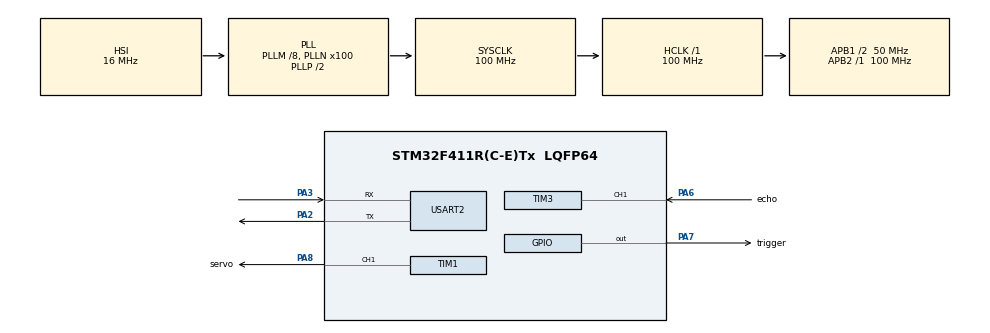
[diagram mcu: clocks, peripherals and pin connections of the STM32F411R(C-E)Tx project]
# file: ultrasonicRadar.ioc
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Mcu.Family=STM32F4
Mcu.Name=STM32F411R(C-E)Tx
Mcu.Package=LQFP64
NVIC.PriorityGroup=NVIC_PRIORITYGROUP_4
NVIC.TIM3_IRQn=true\:0\:0\:false\:false\:true\:true\:true\:true
NVIC.USART2_IRQn=true\:0\:0\:false\:false\:true\:true\:true\:true
PA2.Mode=Asynchronous
PA2.Signal=USART2_TX
PA3.Mode=Asynchronous
PA3.Signal=USART2_RX
PA6.GPIO_Label=echo
PA6.Signal=S_TIM3_CH1
PA7.GPIO_Label=trigger
PA7.Signal=GPIO_Output
PA8.GPIO_Label=servo
PA8.Signal=S_TIM1_CH1
ProjectManager.HeapSize=0x200
ProjectManager.StackSize=0x400
ProjectManager.TargetToolchain=STM32CubeIDE
RCC.48MHZClocksFreq_Value=50000000
RCC.AHBFreq_Value=100000000
RCC.APB1CLKDivider=RCC_HCLK_DIV2
RCC.APB1Freq_Value=50000000
RCC.APB1TimFreq_Value=100000000
RCC.APB2Freq_Value=100000000
RCC.APB2TimFreq_Value=100000000
RCC.CortexFreq_Value=100000000
RCC.HCLKFreq_Value=100000000
RCC.HSE_VALUE=25000000
RCC.HSI_VALUE=16000000
RCC.LSE_VALUE=32768
RCC.PLLM=8
RCC.PLLN=100
RCC.SYSCLKFreq_VALUE=100000000
RCC.SYSCLKSource=RCC_SYSCLKSOURCE_PLLCLK
RCC.VCOOutputFreq_Value=200000000
SH.S_TIM1_CH1.0=TIM1_CH1,PWM Generation1 CH1
SH.S_TIM3_CH1.0=TIM3_CH1,Input_Capture1_from_TI1
TIM1.Channel-PWM\ Generation1\ CH1=TIM_CHANNEL_1
TIM1.Period=20000-1
TIM1.Prescaler=100-1
TIM1.Pulse-PWM\ Generation1\ CH1=1500-1
TIM3.Channel-Input_Capture1_from_TI1=TIM_CHANNEL_1
TIM3.Prescaler=100-1
USART2.VirtualMode=VM_ASYNC
VP_TIM11_VS_ClockSourceINT.Mode=Enable_Timer
VP_TIM1_VS_ClockSourceINT.Mode=Internal
VP_TIM3_VS_ClockSourceINT.Mode=Internal
board=custom

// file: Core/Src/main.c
/* USER CODE BEGIN Header */
/**
  ******************************************************************************
  * @file           : main.c
  * @brief          : Main program body
  ******************************************************************************
  * @attention
  *
  * Copyright (c) 2024 STMicroelectronics.
  * All rights reserved.
  *
  * This software is licensed under terms that can be found in the LICENSE file
  * in the root directory of this software component.
  * If no LICENSE file comes with this software, it is provided AS-IS.
  *
  ******************************************************************************
  */
/* USER CODE END Header */
#include "main.h"

/* USER CODE BEGIN Includes */
#include "uart.h"
/* USER CODE END Includes */

TIM_HandleTypeDef htim1;
TIM_HandleTypeDef htim3;
TIM_HandleTypeDef htim11;

UART_HandleTypeDef huart2;

void SystemClock_Config(void);
static void MX_GPIO_Init(void);
static void MX_TIM1_Init(void);
static void MX_TIM3_Init(void);
static void MX_TIM11_Init(void);
static void MX_USART2_UART_Init(void);

/* USER CODE BEGIN 0 */
long map(long x, long in_min, long in_max, long out_min, long out_max) {
  return (x - in_min) * (out_max - out_min) / (in_max - in_min) + out_min;
}

uint32_t 	IC_Val1 = 0;
uint32_t 	IC_Val2 = 0;
uint32_t 	Difference = 0;
uint8_t 	IsFirstCaptured = 0;
uint8_t 	Distance = 0;

void delay_us(uint16_t time) {
	htim3.Instance->CNT = 0;
	while(htim3.Instance->CNT < time);
}

void HAL_TIM_IC_CaptureCallback(TIM_HandleTypeDef *htim) {
	if(htim->Channel == HAL_TIM_ACTIVE_CHANNEL_1) {
		if(IsFirstCaptured == 0) {
			IC_Val1 = HAL_TIM_ReadCapturedValue(htim, TIM_CHANNEL_1);
			IsFirstCaptured = 1;
			__HAL_TIM_SET_CAPTUREPOLARITY(htim, TIM_CHANNEL_1, TIM_INPUTCHANNELPOLARITY_FALLING);
		}
		else if(IsFirstCaptured == 1) {
			IC_Val2 = HAL_TIM_ReadCapturedValue(htim, TIM_CHANNEL_1);
			htim->Instance->CNT = 0;
			if(IC_Val2 > IC_Val1) {
				Difference = IC_Val2 - IC_Val1;
			}
			else if(IC_Val2 < IC_Val1) {
				Difference = (0xffff - IC_Val1) + IC_Val2;
			}
			Distance = Difference * 0.034 / 2;
			IsFirstCaptured = 0;

			__HAL_TIM_SET_CAPTUREPOLARITY(htim, TIM_CHANNEL_1, TIM_INPUTCHANNELPOLARITY_RISING);
			__HAL_TIM_DISABLE_IT(htim, TIM_IT_CC1);
		}
	}
}

uint32_t getDistance() {
	HAL_GPIO_WritePin(trigger_GPIO_Port, trigger_Pin, 1);
	delay_us(10);
	HAL_GPIO_WritePin(trigger_GPIO_Port, trigger_Pin, 0);

	__HAL_TIM_ENABLE_IT(&htim3, TIM_IT_CC1);
	delay_us(100);
	return Distance;
}

/* USER CODE END 0 */

int main(void)
{

  /* MCU Configuration--------------------------------------------------------*/

  /* Reset of all peripherals, Initializes the Flash interface and the Systick. */
  HAL_Init();

  /* Configure the system clock */
  SystemClock_Config();

  /* Initialize all configured peripherals */
  MX_GPIO_Init();
  MX_TIM1_Init();
  MX_TIM3_Init();
  MX_TIM11_Init();
  MX_USART2_UART_Init();
  /* USER CODE BEGIN 2 */
  initUart(&huart2);
  HAL_TIM_PWM_Start(&htim1, TIM_CHANNEL_1);
  HAL_TIM_IC_Start_IT(&htim3, TIM_CHANNEL_1);
  HAL_TIM_Base_Start(&htim11);
  /* USER CODE END 2 */

  /* Infinite loop */
  /* USER CODE BEGIN WHILE */
  while (1)
  {
     protocol_t txData, rxData;
     rxData = receivePacket();
     if(rxData.cmd=='R'){
    	 htim1.Instance->CCR1 = map(rxData.data, 0, 180, 500, 2300);
    	 txData.cmd='A';
    	 txData.data = getDistance();
    	 transmitPacket(txData);
     }

     if(rxData.cmd=='P'){
    	 txData.cmd = 'B';
    	 txData.data = 0x321;
    	 transmitPacket(txData);
     }

     HAL_Delay(1000);
    /* USER CODE END WHILE */

  }
}

void SystemClock_Config(void)
{
  RCC_OscInitTypeDef RCC_OscInitStruct = {0};
  RCC_ClkInitTypeDef RCC_ClkInitStruct = {0};

  /** Configure the main internal regulator output voltage
  */
  __HAL_RCC_PWR_CLK_ENABLE();
  __HAL_PWR_VOLTAGESCALING_CONFIG(PWR_REGULATOR_VOLTAGE_SCALE1);

  /** Initializes the RCC Oscillators according to the specified parameters
  * in the RCC_OscInitTypeDef structure.
  */
  RCC_OscInitStruct.OscillatorType = RCC_OSCILLATORTYPE_HSI;
  RCC_OscInitStruct.HSIState = RCC_HSI_ON;
  RCC_OscInitStruct.HSICalibrationValue = RCC_HSICALIBRATION_DEFAULT;
  RCC_OscInitStruct.PLL.PLLState = RCC_PLL_ON;
  RCC_OscInitStruct.PLL.PLLSource = RCC_PLLSOURCE_HSI;
  RCC_OscInitStruct.PLL.PLLM = 8;
  RCC_OscInitStruct.PLL.PLLN = 100;
  RCC_OscInitStruct.PLL.PLLP = RCC_PLLP_DIV2;
  RCC_OscInitStruct.PLL.PLLQ = 4;
  if (HAL_RCC_OscConfig(&RCC_OscInitStruct) != HAL_OK)
  {
    Error_Handler();
  }

  /** Initializes the CPU, AHB and APB buses clocks
  */
  RCC_ClkInitStruct.ClockType = RCC_CLOCKTYPE_HCLK|RCC_CLOCKTYPE_SYSCLK
                              |RCC_CLOCKTYPE_PCLK1|RCC_CLOCKTYPE_PCLK2;
  RCC_ClkInitStruct.SYSCLKSource = RCC_SYSCLKSOURCE_PLLCLK;
  RCC_ClkInitStruct.AHBCLKDivider = RCC_SYSCLK_DIV1;
  RCC_ClkInitStruct.APB1CLKDivider = RCC_HCLK_DIV2;
  RCC_ClkInitStruct.APB2CLKDivider = RCC_HCLK_DIV1;

  if (HAL_RCC_ClockConfig(&RCC_ClkInitStruct, FLASH_LATENCY_3) != HAL_OK)
  {
    Error_Handler();
  }
}

static void MX_TIM1_Init(void)
{

  TIM_ClockConfigTypeDef sClockSourceConfig = {0};
  TIM_MasterConfigTypeDef sMasterConfig = {0};
  TIM_OC_InitTypeDef sConfigOC = {0};
  TIM_BreakDeadTimeConfigTypeDef sBreakDeadTimeConfig = {0};

  htim1.Instance = TIM1;
  htim1.Init.Prescaler = 100-1;
  htim1.Init.CounterMode = TIM_COUNTERMODE_UP;
  htim1.Init.Period = 20000-1;
  htim1.Init.ClockDivision = TIM_CLOCKDIVISION_DIV1;
  htim1.Init.RepetitionCounter = 0;
  htim1.Init.AutoReloadPreload = TIM_AUTORELOAD_PRELOAD_DISABLE;
  if (HAL_TIM_Base_Init(&htim1) != HAL_OK)
  {
    Error_Handler();
  }
  sClockSourceConfig.ClockSource = TIM_CLOCKSOURCE_INTERNAL;
  if (HAL_TIM_ConfigClockSource(&htim1, &sClockSourceConfig) != HAL_OK)
  {
    Error_Handler();
  }
  if (HAL_TIM_PWM_Init(&htim1) != HAL_OK)
  {
    Error_Handler();
  }
  sMasterConfig.MasterOutputTrigger = TIM_TRGO_RESET;
  sMasterConfig.MasterSlaveMode = TIM_MASTERSLAVEMODE_DISABLE;
  if (HAL_TIMEx_MasterConfigSynchronization(&htim1, &sMasterConfig) != HAL_OK)
  {
    Error_Handler();
  }
  sConfigOC.OCMode = TIM_OCMODE_PWM1;
  sConfigOC.Pulse = 1500-1;
  sConfigOC.OCPolarity = TIM_OCPOLARITY_HIGH;
  sConfigOC.OCNPolarity = TIM_OCNPOLARITY_HIGH;
  sConfigOC.OCFastMode = TIM_OCFAST_DISABLE;
  sConfigOC.OCIdleState = TIM_OCIDLESTATE_RESET;
  sConfigOC.OCNIdleState = TIM_OCNIDLESTATE_RESET;
  if (HAL_TIM_PWM_ConfigChannel(&htim1, &sConfigOC, TIM_CHANNEL_1) != HAL_OK)
  {
    Error_Handler();
  }
  sBreakDeadTimeConfig.OffStateRunMode = TIM_OSSR_DISABLE;
  sBreakDeadTimeConfig.OffStateIDLEMode = TIM_OSSI_DISABLE;
  sBreakDeadTimeConfig.LockLevel = TIM_LOCKLEVEL_OFF;
  sBreakDeadTimeConfig.DeadTime = 0;
  sBreakDeadTimeConfig.BreakState = TIM_BREAK_DISABLE;
  sBreakDeadTimeConfig.BreakPolarity = TIM_BREAKPOLARITY_HIGH;
  sBreakDeadTimeConfig.AutomaticOutput = TIM_AUTOMATICOUTPUT_DISABLE;
  if (HAL_TIMEx_ConfigBreakDeadTime(&htim1, &sBreakDeadTimeConfig) != HAL_OK)
  {
    Error_Handler();
  }
  HAL_TIM_MspPostInit(&htim1);

}

static void MX_TIM3_Init(void)
{

  TIM_ClockConfigTypeDef sClockSourceConfig = {0};
  TIM_MasterConfigTypeDef sMasterConfig = {0};
  TIM_IC_InitTypeDef sConfigIC = {0};

  htim3.Instance = TIM3;
  htim3.Init.Prescaler = 100-1;
  htim3.Init.CounterMode = TIM_COUNTERMODE_UP;
  htim3.Init.Period = 65535;
  htim3.Init.ClockDivision = TIM_CLOCKDIVISION_DIV1;
  htim3.Init.AutoReloadPreload = TIM_AUTORELOAD_PRELOAD_DISABLE;
  if (HAL_TIM_Base_Init(&htim3) != HAL_OK)
  {
    Error_Handler();
  }
  sClockSourceConfig.ClockSource = TIM_CLOCKSOURCE_INTERNAL;
  if (HAL_TIM_ConfigClockSource(&htim3, &sClockSourceConfig) != HAL_OK)
  {
    Error_Handler();
  }
  if (HAL_TIM_IC_Init(&htim3) != HAL_OK)
  {
    Error_Handler();
  }
  sMasterConfig.MasterOutputTrigger = TIM_TRGO_RESET;
  sMasterConfig.MasterSlaveMode = TIM_MASTERSLAVEMODE_DISABLE;
  if (HAL_TIMEx_MasterConfigSynchronization(&htim3, &sMasterConfig) != HAL_OK)
  {
    Error_Handler();
  }
  sConfigIC.ICPolarity = TIM_INPUTCHANNELPOLARITY_RISING;
  sConfigIC.ICSelection = TIM_ICSELECTION_DIRECTTI;
  sConfigIC.ICPrescaler = TIM_ICPSC_DIV1;
  sConfigIC.ICFilter = 0;
  if (HAL_TIM_IC_ConfigChannel(&htim3, &sConfigIC, TIM_CHANNEL_1) != HAL_OK)
  {
    Error_Handler();
  }

}

static void MX_TIM11_Init(void)
{

  htim11.Instance = TIM11;
  htim11.Init.Prescaler = 0;
  htim11.Init.CounterMode = TIM_COUNTERMODE_UP;
  htim11.Init.Period = 65535;
  htim11.Init.ClockDivision = TIM_CLOCKDIVISION_DIV1;
  htim11.Init.AutoReloadPreload = TIM_AUTORELOAD_PRELOAD_DISABLE;
  if (HAL_TIM_Base_Init(&htim11) != HAL_OK)
  {
    Error_Handler();
  }

}

static void MX_USART2_UART_Init(void)
{

  huart2.Instance = USART2;
  huart2.Init.BaudRate = 115200;
  huart2.Init.WordLength = UART_WORDLENGTH_8B;
  huart2.Init.StopBits = UART_STOPBITS_1;
  huart2.Init.Parity = UART_PARITY_NONE;
  huart2.Init.Mode = UART_MODE_TX_RX;
  huart2.Init.HwFlowCtl = UART_HWCONTROL_NONE;
  huart2.Init.OverSampling = UART_OVERSAMPLING_16;
  if (HAL_UART_Init(&huart2) != HAL_OK)
  {
    Error_Handler();
  }

}

static void MX_GPIO_Init(void)
{
  GPIO_InitTypeDef GPIO_InitStruct = {0};

  /* GPIO Ports Clock Enable */
  __HAL_RCC_GPIOA_CLK_ENABLE();

  /*Configure GPIO pin Output Level */
  HAL_GPIO_WritePin(trigger_GPIO_Port, trigger_Pin, GPIO_PIN_RESET);

  /*Configure GPIO pin : trigger_Pin */
  GPIO_InitStruct.Pin = trigger_Pin;
  GPIO_InitStruct.Mode = GPIO_MODE_OUTPUT_PP;
  GPIO_InitStruct.Pull = GPIO_NOPULL;
  GPIO_InitStruct.Speed = GPIO_SPEED_FREQ_LOW;
  HAL_GPIO_Init(trigger_GPIO_Port, &GPIO_InitStruct);

}

void Error_Handler(void)
{
  __disable_irq();
  while (1)
  {
  }
}
